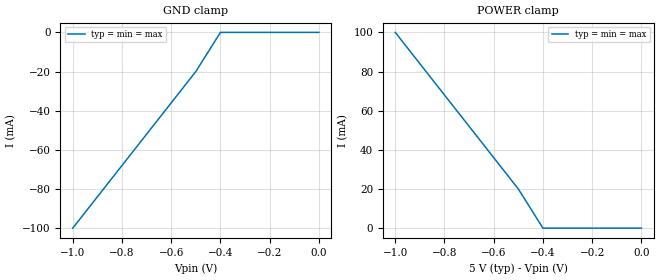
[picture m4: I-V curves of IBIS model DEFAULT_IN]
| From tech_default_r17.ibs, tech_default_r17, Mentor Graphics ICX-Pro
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[Model]		DEFAULT_IN
Model_type	Input
Polarity	Non-Inverting
Enable		Active-High
Vinl = 1.500000V
Vinh = 3.500000V
|		typ		min		max
C_comp		4.500000pF		2.000000pF		6.000000pF
|			typ		min		max
[voltage range]	5.000000V		4.500000V		5.500000V
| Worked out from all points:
|   GND clamp passes 1 mA (typ) near -0.41 V on its own axis
|   POWER clamp passes 1 mA (typ) near -0.41 V on its own axis
[Gnd Clamp]
|	Voltage		I(typ)		I(min)		I(max)
-1V       -100mA     -100mA     -100mA
-500mV    -20mA      -20mA      -20mA
-400mV    0A         0A         0A
0V        0A         0A         0A
[Power Clamp]
|	Voltage		I(typ)		I(min)		I(max)
-1V       100mA      100mA      100mA
-500mV    20mA       20mA       20mA
-400mV    0A         0A         0A
0V        0A         0A         0A
